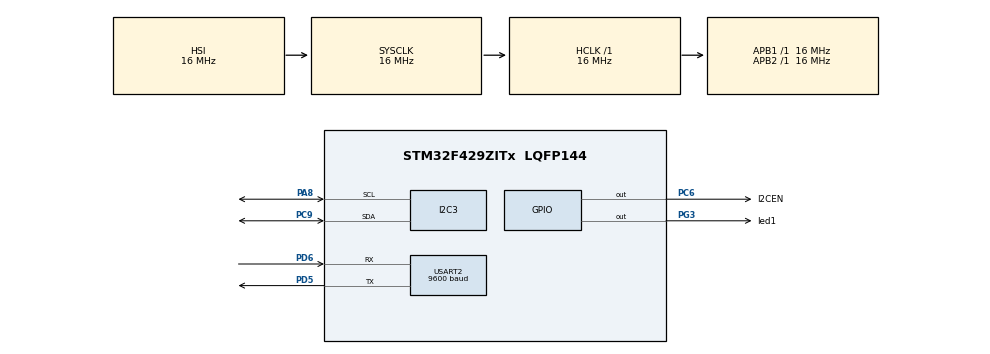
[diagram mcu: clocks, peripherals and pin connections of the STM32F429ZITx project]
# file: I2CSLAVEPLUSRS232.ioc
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Dma.I2C3_RX.0.Direction=DMA_PERIPH_TO_MEMORY
Dma.I2C3_RX.0.FIFOMode=DMA_FIFOMODE_DISABLE
Dma.I2C3_RX.0.Instance=DMA1_Stream2
Dma.I2C3_RX.0.MemDataAlignment=DMA_MDATAALIGN_BYTE
Dma.I2C3_RX.0.MemInc=DMA_MINC_ENABLE
Dma.I2C3_RX.0.Mode=DMA_NORMAL
Dma.I2C3_RX.0.PeriphDataAlignment=DMA_PDATAALIGN_BYTE
Dma.I2C3_RX.0.PeriphInc=DMA_PINC_DISABLE
Dma.I2C3_RX.0.Priority=DMA_PRIORITY_LOW
Dma.Request0=I2C3_RX
I2C3.OwnAddress=20
Mcu.Family=STM32F4
Mcu.Name=STM32F429ZITx
Mcu.Package=LQFP144
NVIC.DMA1_Stream2_IRQn=true\:0\:0\:false\:false\:true\:false\:true\:true
NVIC.I2C3_ER_IRQn=true\:0\:0\:false\:false\:true\:true\:true\:true
NVIC.I2C3_EV_IRQn=true\:0\:0\:false\:false\:true\:true\:true\:true
NVIC.PriorityGroup=NVIC_PRIORITYGROUP_4
PA8.GPIO_Pu=GPIO_PULLUP
PA8.Mode=I2C
PA8.Signal=I2C3_SCL
PC6.GPIO_Label=I2CEN
PC6.Signal=GPIO_Output
PC9.GPIO_Pu=GPIO_PULLUP
PC9.Mode=I2C
PC9.Signal=I2C3_SDA
PD5.Mode=Asynchronous
PD5.Signal=USART2_TX
PD6.Mode=Asynchronous
PD6.Signal=USART2_RX
PG3.GPIO_Label=led1
PG3.Signal=GPIO_Output
ProjectManager.HeapSize=0x200
ProjectManager.StackSize=0x400
ProjectManager.TargetToolchain=STM32CubeIDE
RCC.AHBFreq_Value=16000000
RCC.APB1Freq_Value=16000000
RCC.APB2Freq_Value=16000000
RCC.CortexFreq_Value=16000000
RCC.HSE_VALUE=25000000
RCC.HSI_VALUE=16000000
RCC.LSE_VALUE=32768
RCC.SYSCLKFreq_VALUE=16000000
RCC.VCOOutputFreq_Value=192000000
USART2.BaudRate=9600
USART2.VirtualMode=VM_ASYNC
board=custom

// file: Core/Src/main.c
/* USER CODE BEGIN Header */
/**
  ******************************************************************************
  * @file           : main.c
  * @brief          : Main program body
  ******************************************************************************
  * @attention
  *
  * Copyright (c) 2026 STMicroelectronics.
  * All rights reserved.
  *
  * This software is licensed under terms that can be found in the LICENSE file
  * in the root directory of this software component.
  * If no LICENSE file comes with this software, it is provided AS-IS.
  *
  ******************************************************************************
  */
/* USER CODE END Header */
#include "main.h"

/* USER CODE BEGIN Includes */
#include <string.h>
/* USER CODE END Includes */

I2C_HandleTypeDef hi2c3;
DMA_HandleTypeDef hdma_i2c3_rx;

UART_HandleTypeDef huart2;

/* USER CODE BEGIN PV */
uint8_t RX_Buffer [1] ;
/* USER CODE END PV */

void SystemClock_Config(void);
static void MX_GPIO_Init(void);
static void MX_DMA_Init(void);
static void MX_I2C3_Init(void);
static void MX_USART2_UART_Init(void);

int main(void)
{

  /* USER CODE BEGIN 1 */
char failmessage[] = "\r\nNO I2C response.\r\n";
char uart_buf[50];

HAL_GPIO_WritePin(I2CEN_GPIO_Port, I2CEN_Pin, 1);
  /* USER CODE END 1 */

  /* MCU Configuration--------------------------------------------------------*/

  /* Reset of all peripherals, Initializes the Flash interface and the Systick. */
  HAL_Init();

  /* Configure the system clock */
  SystemClock_Config();

  /* Initialize all configured peripherals */
  MX_GPIO_Init();
  MX_DMA_Init();
  MX_I2C3_Init();
  MX_USART2_UART_Init();

  /* Infinite loop */
  while (1)
  {

    /* USER CODE BEGIN 3 */
	  if(HAL_I2C_Slave_Receive(&hi2c3, (uint8_t*)RX_Buffer, 1, 1000) == HAL_OK){
	            HAL_GPIO_WritePin(led1_GPIO_Port, led1_Pin, 0);
	            HAL_Delay(100);
	            HAL_GPIO_WritePin(led1_GPIO_Port, led1_Pin, 1);

	            sprintf(uart_buf, "DATA: %d\r\n", RX_Buffer[0]);

	            HAL_UART_Transmit(&huart2, (uint8_t*)uart_buf, strlen(uart_buf), 100);
	        }
	        else{
	            HAL_GPIO_WritePin(led1_GPIO_Port, led1_Pin, 0);
	            HAL_Delay(25);
	            HAL_GPIO_WritePin(led1_GPIO_Port, led1_Pin, 1);
	            HAL_Delay(25);
	            HAL_GPIO_WritePin(led1_GPIO_Port, led1_Pin, 0);
	            HAL_Delay(25);
	            HAL_GPIO_WritePin(led1_GPIO_Port, led1_Pin, 1);
	            HAL_Delay(25);
	            HAL_GPIO_WritePin(led1_GPIO_Port, led1_Pin, 0);
	            HAL_Delay(25);
	            HAL_GPIO_WritePin(led1_GPIO_Port, led1_Pin, 1);
	            HAL_UART_Transmit(&huart2, (uint8_t*)failmessage, strlen(failmessage), 100);
	        }
  }
  /* USER CODE END 3 */
}

void SystemClock_Config(void)
{
  RCC_OscInitTypeDef RCC_OscInitStruct = {0};
  RCC_ClkInitTypeDef RCC_ClkInitStruct = {0};

  /** Configure the main internal regulator output voltage
  */
  __HAL_RCC_PWR_CLK_ENABLE();
  __HAL_PWR_VOLTAGESCALING_CONFIG(PWR_REGULATOR_VOLTAGE_SCALE3);

  /** Initializes the RCC Oscillators according to the specified parameters
  * in the RCC_OscInitTypeDef structure.
  */
  RCC_OscInitStruct.OscillatorType = RCC_OSCILLATORTYPE_HSI;
  RCC_OscInitStruct.HSIState = RCC_HSI_ON;
  RCC_OscInitStruct.HSICalibrationValue = RCC_HSICALIBRATION_DEFAULT;
  RCC_OscInitStruct.PLL.PLLState = RCC_PLL_NONE;
  if (HAL_RCC_OscConfig(&RCC_OscInitStruct) != HAL_OK)
  {
    Error_Handler();
  }

  /** Initializes the CPU, AHB and APB buses clocks
  */
  RCC_ClkInitStruct.ClockType = RCC_CLOCKTYPE_HCLK|RCC_CLOCKTYPE_SYSCLK
                              |RCC_CLOCKTYPE_PCLK1|RCC_CLOCKTYPE_PCLK2;
  RCC_ClkInitStruct.SYSCLKSource = RCC_SYSCLKSOURCE_HSI;
  RCC_ClkInitStruct.AHBCLKDivider = RCC_SYSCLK_DIV1;
  RCC_ClkInitStruct.APB1CLKDivider = RCC_HCLK_DIV1;
  RCC_ClkInitStruct.APB2CLKDivider = RCC_HCLK_DIV1;

  if (HAL_RCC_ClockConfig(&RCC_ClkInitStruct, FLASH_LATENCY_0) != HAL_OK)
  {
    Error_Handler();
  }
}

static void MX_I2C3_Init(void)
{

  hi2c3.Instance = I2C3;
  hi2c3.Init.ClockSpeed = 100000;
  hi2c3.Init.DutyCycle = I2C_DUTYCYCLE_2;
  hi2c3.Init.OwnAddress1 = 40;
  hi2c3.Init.AddressingMode = I2C_ADDRESSINGMODE_7BIT;
  hi2c3.Init.DualAddressMode = I2C_DUALADDRESS_DISABLE;
  hi2c3.Init.OwnAddress2 = 0;
  hi2c3.Init.GeneralCallMode = I2C_GENERALCALL_DISABLE;
  hi2c3.Init.NoStretchMode = I2C_NOSTRETCH_DISABLE;
  if (HAL_I2C_Init(&hi2c3) != HAL_OK)
  {
    Error_Handler();
  }

  /** Configure Analogue filter
  */
  if (HAL_I2CEx_ConfigAnalogFilter(&hi2c3, I2C_ANALOGFILTER_ENABLE) != HAL_OK)
  {
    Error_Handler();
  }

  /** Configure Digital filter
  */
  if (HAL_I2CEx_ConfigDigitalFilter(&hi2c3, 0) != HAL_OK)
  {
    Error_Handler();
  }

}

static void MX_USART2_UART_Init(void)
{

  huart2.Instance = USART2;
  huart2.Init.BaudRate = 9600;
  huart2.Init.WordLength = UART_WORDLENGTH_8B;
  huart2.Init.StopBits = UART_STOPBITS_1;
  huart2.Init.Parity = UART_PARITY_NONE;
  huart2.Init.Mode = UART_MODE_TX_RX;
  huart2.Init.HwFlowCtl = UART_HWCONTROL_NONE;
  huart2.Init.OverSampling = UART_OVERSAMPLING_16;
  if (HAL_UART_Init(&huart2) != HAL_OK)
  {
    Error_Handler();
  }

}

static void MX_DMA_Init(void)
{

  /* DMA controller clock enable */
  __HAL_RCC_DMA1_CLK_ENABLE();

  /* DMA interrupt init */
  /* DMA1_Stream2_IRQn interrupt configuration */
  HAL_NVIC_SetPriority(DMA1_Stream2_IRQn, 0, 0);
  HAL_NVIC_EnableIRQ(DMA1_Stream2_IRQn);

}

static void MX_GPIO_Init(void)
{
  GPIO_InitTypeDef GPIO_InitStruct = {0};

  /* GPIO Ports Clock Enable */
  __HAL_RCC_GPIOG_CLK_ENABLE();
  __HAL_RCC_GPIOC_CLK_ENABLE();
  __HAL_RCC_GPIOA_CLK_ENABLE();
  __HAL_RCC_GPIOD_CLK_ENABLE();

  /*Configure GPIO pin Output Level */
  HAL_GPIO_WritePin(led1_GPIO_Port, led1_Pin, GPIO_PIN_RESET);

  /*Configure GPIO pin Output Level */
  HAL_GPIO_WritePin(I2CEN_GPIO_Port, I2CEN_Pin, GPIO_PIN_RESET);

  /*Configure GPIO pin : led1_Pin */
  GPIO_InitStruct.Pin = led1_Pin;
  GPIO_InitStruct.Mode = GPIO_MODE_OUTPUT_PP;
  GPIO_InitStruct.Pull = GPIO_NOPULL;
  GPIO_InitStruct.Speed = GPIO_SPEED_FREQ_LOW;
  HAL_GPIO_Init(led1_GPIO_Port, &GPIO_InitStruct);

  /*Configure GPIO pin : I2CEN_Pin */
  GPIO_InitStruct.Pin = I2CEN_Pin;
  GPIO_InitStruct.Mode = GPIO_MODE_OUTPUT_PP;
  GPIO_InitStruct.Pull = GPIO_NOPULL;
  GPIO_InitStruct.Speed = GPIO_SPEED_FREQ_LOW;
  HAL_GPIO_Init(I2CEN_GPIO_Port, &GPIO_InitStruct);

}

void Error_Handler(void)
{
  __disable_irq();
  while (1)
  {
  }
}
